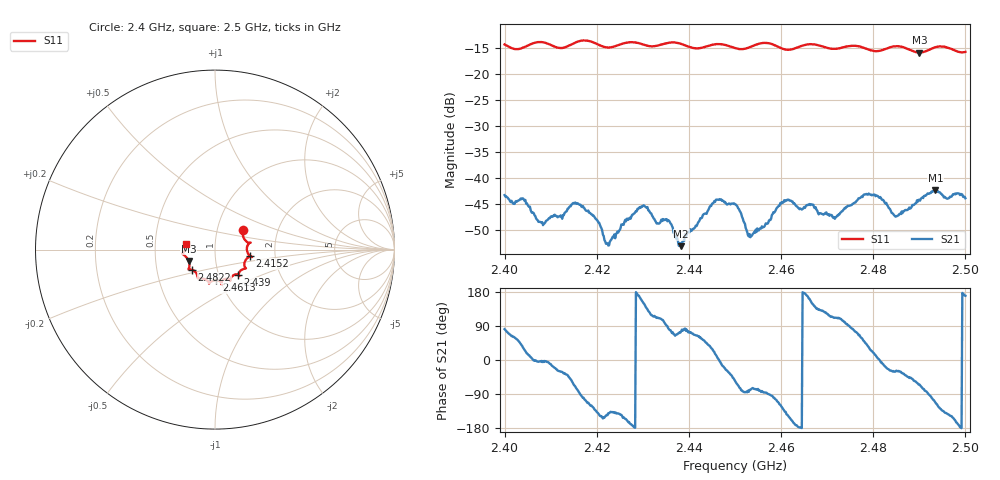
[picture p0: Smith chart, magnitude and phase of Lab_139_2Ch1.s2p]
# Hz S RI R
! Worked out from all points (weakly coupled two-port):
!   601 points, 2.4 GHz to 2.5 GHz, reference 50 ohm
!   highest |S21| = -42.25 dB at 2.4935 GHz (marker M1); lowest = -53.0 dB at 2.4383 GHz (marker M2)
!   lowest |S11| = -15.9 dB at 2.49 GHz (marker M3), VSWR 1.38, Z = 36.9 - j4.83 ohm
!   |S11| at or under -10 dB: start of sweep to end of sweep
!   S12 and S22 are empty: the file has one direction only
!   S11 on the Smith chart (normalised r, x): 2.4 GHz: 1.33, +0.31; 2.4152 GHz: 1.48, -0.11; 2.439 GHz: 1.24, -0.36; 2.4613 GHz: 0.96, -0.34; 2.4822 GHz: 0.76, -0.17; 2.5 GHz: 0.72, +0.05
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2.4e9  0.1561 0.1113  0.00103 0.00681  0 0  0 0
2.408333e9  0.1973 0.0393  0.00354 -0.000168  0 0  0 0
2.415167e9  0.1947 -0.036  0.00221 -0.00529  0 0  0 0
2.416667e9  0.2044 -0.0418  -0.000438 -0.00533  0 0  0 0
2.422333e9  0.1677 -0.0637  -0.00196 -0.00134  0 0  0 0
2.429667e9  0.1623 -0.1069  -0.00499 0.00194  0 0  0 0
2.433333e9  0.133 -0.1324  -0.00129 0.00344  0 0  0 0
2.4355e9  0.1337 -0.1466  0.000422 0.00394  0 0  0 0
2.438333e9  0.1322 -0.142  0.00053 0.00217  0 0  0 0
2.439e9  0.1281 -0.1395  0.000343 0.00249  0 0  0 0
2.445833e9  0.0847 -0.1734  0.00602 0.00148  0 0  0 0
2.45e9  0.0684 -0.1635  0.00327 -0.00458  0 0  0 0
2.453333e9  0.0369 -0.1778  0.000533 -0.00266  0 0  0 0
2.461333e9  0.00775 -0.1705  -0.00507 -0.00361  0 0  0 0
2.466667e9  -0.033 -0.1901  -0.00488 0.00277  0 0  0 0
2.471667e9  -0.0614 -0.1627  -0.00151 0.00379  0 0  0 0
2.478333e9  -0.0978 -0.1458  0.00502 0.00489  0 0  0 0
2.482167e9  -0.1283 -0.1122  0.00607 -0.00121  0 0  0 0
2.483333e9  -0.1395 -0.1106  0.00475 -0.00216  0 0  0 0
2.49e9  -0.1471 -0.0638  0.00265 -0.00559  0 0  0 0
2.4935e9  -0.1788 -0.0255  -0.00293 -0.00714  0 0  0 0
2.5e9  -0.1589 0.0339  -0.00633 0.00117  0 0  0 0
